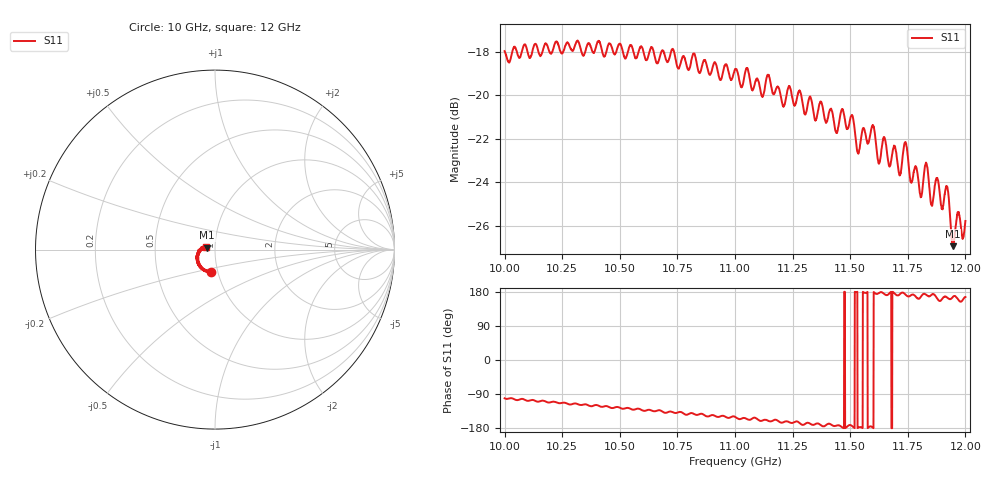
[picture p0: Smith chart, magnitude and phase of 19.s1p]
[Version] 2.0
! Rohde & Schwarz Vector Network Analyzer
! Rohde-Schwarz,ZNL20-2Port,1323001220200009,1.71.1.10-23.02.1.238
! Port Assignments:
! Nominal Port -> Actual Test Port
!  1 -> 1
! Created: GMT 2024-09-04 10:38:51
# Hz S DB R 50
[Number of Ports] 1
! freq[Hz]  S11[mag dB]  S11[ang]
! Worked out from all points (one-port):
!   2001 points, 10 GHz to 12 GHz, reference 50 ohm
!   lowest |S11| = -26.9 dB at 11.95 GHz (marker M1), VSWR 1.09, Z = 45.8 + j0.971 ohm
!   |S11| at or under -10 dB: start of sweep to end of sweep
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[Number of Frequencies] 28
[Network Data]
1e10  -17.97 -101.1
1.025e10  -18.06 -113.0
1.05e10  -17.62 -125.9
1.073e10  -17.86 -137.6
1.075e10  -18.71 -139.0
1.1e10  -18.79 -149.8
1.125e10  -20.18 -165.9
1.1417e10  -20.61 -170.3
1.144e10  -21.73 -173.3
1.1464e10  -20.65 -177.0
1.15e10  -21.09 -171.4
1.1534e10  -22.67 -179.0
1.1598e10  -21.39 -178.2
1.1624e10  -23.11 176.6
1.1647e10  -21.94 174.6
1.1714e10  -23.68 172.8
1.1737e10  -22.18 174.3
1.175e10  -22.79 168.1
1.1763e10  -23.98 170.5
1.1806e10  -24.69 166.3
1.1829e10  -23.09 172.7
1.1854e10  -25.03 172.7
1.1876e10  -23.81 163.7
1.1899e10  -25.23 160.8
1.192e10  -24.22 165.2
1.1945e10  -26.94 166.4
1.1968e10  -25.40 160.1
1.2e10  -25.78 166.1
[End]
